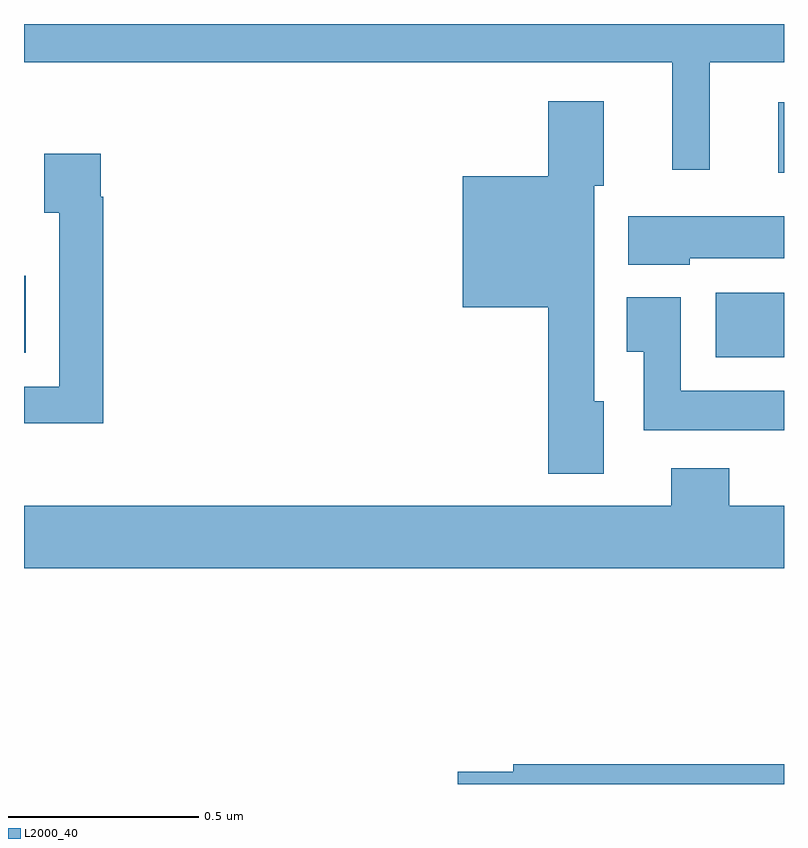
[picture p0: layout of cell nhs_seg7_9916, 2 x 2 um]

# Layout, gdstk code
import gdstk
lib = gdstk.Library(unit=1e-6, precision=1e-09)
def R(c, l, rs):  # rectangles x0, y0, x1, y1
    for r in rs: c.add(gdstk.rectangle(r[:2], r[2:], *l))
def P(c, l, *ps):  # polygons
    for p in ps: c.add(gdstk.Polygon(p, *l))
L2000_40 = (2000, 40)

nhs_seg7_9916 = lib.new_cell('nhs_seg7_9916')
R(nhs_seg7_9916, L2000_40, [(244.82,1049.123,245,1049.293), (243,1049.135,243.004,1049.338), (244.985,1049.609,245,1049.794)])
P(nhs_seg7_9916, L2000_40, [(244.805,1049.9),(245,1049.9),(245,1050),(243,1050),(243,1049.9),(244.706,1049.9),(244.706,1049.616),(244.805,1049.616)],
  [(244.525,1049.007),(244.501,1049.007),(244.501,1049.574),(244.525,1049.574),(244.525,1049.797),(244.379,1049.797),(244.379,1049.599),(244.154,1049.599),(244.154,1049.255),(244.379,1049.255),(244.379,1048.817),(244.525,1048.817)],
  [(243.209,1049.546),(243.202,1049.546),(243.202,1049.659),(243.053,1049.659),(243.053,1049.503),(243.093,1049.503),(243.093,1049.046),(243,1049.046),(243,1048.949),(243.209,1048.949)],
  [(244.752,1049.384),(245,1049.384),(245,1049.494),(244.59,1049.494),(244.59,1049.366),(244.752,1049.366)],
  [(245,1049.035),(244.728,1049.035),(244.728,1049.281),(244.586,1049.281),(244.586,1049.137),(244.631,1049.137),(244.631,1048.931),(245,1048.931)],
  [(245,1048.732),(244.856,1048.732),(244.856,1048.831),(244.703,1048.831),(244.703,1048.732),(243,1048.732),(243,1048.568),(245,1048.568)],
  [(245,1048.052),(244.288,1048.052),(244.288,1048.032),(244.142,1048.032),(244.142,1048),(245,1048)])

lib.write_gds('nhs_seg7_9916.gds')
